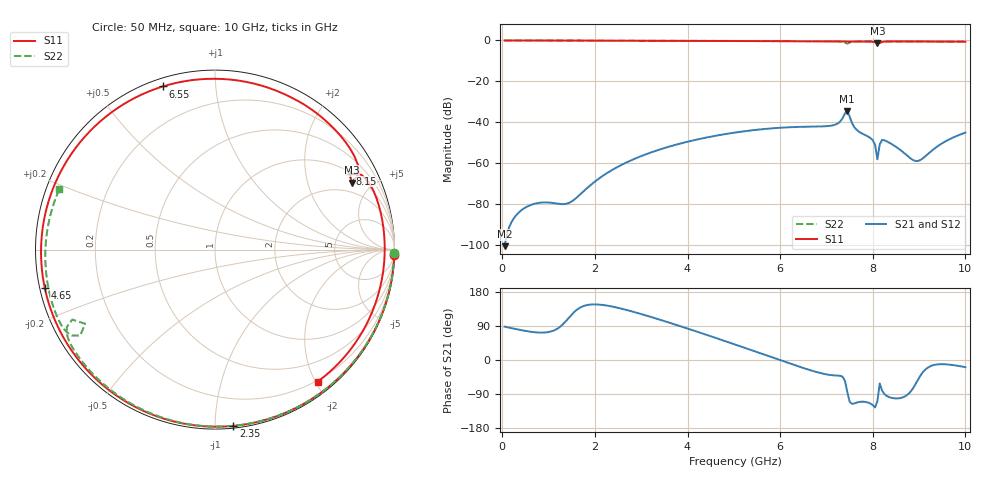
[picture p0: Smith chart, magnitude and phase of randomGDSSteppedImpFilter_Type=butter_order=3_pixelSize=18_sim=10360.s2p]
! freq	dB(S11)	phase(S11)	dB(S12)	phase(S12)
!  dB(S21)	phase(S21)	dB(S22)	phase(S22)
!S-par simulation data
#  GHz  S  DB  R 50
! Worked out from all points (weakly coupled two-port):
!   200 points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, 50 MHz to 10 GHz, reference 50 ohm
!   highest |S21| = -34.39 dB at 7.45 GHz (marker M1); lowest = -100.5 dB at 50 MHz (marker M2)
!   lowest |S11| = -1.4 dB at 8.1 GHz (marker M3), VSWR 12.21, Z = 71.2 + j190 ohm
!   |S11| at or under -10 dB: nowhere
!   |S22| runs from -1.6 to 0.0 dB; largest |S21 - S12| = 0
!   S11 on the Smith chart (normalised r, x): 50 MHz: 1, -62; 2.35 GHz: 0.01, -1.11; 4.65 GHz: 0.01, -0.11; 6.55 GHz: 0.04, +0.73; 8.15 GHz: 1.07, +3.50; 10 GHz: 0.18, -2.03
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0.05  -0.00 -1.9  -100.50 88.1  -100.50 88.1  -0.00 -1.2
0.65  -0.03 -23.6  -80.10 73.9  -80.10 73.9  -0.02 -14.8
1.35  -0.06 -48.7  -79.91 99.4  -79.91 99.4  -0.04 -30.5
1.75  -0.08 -62.9  -73.80 142.1  -73.80 142.1  -0.05 -39.3
2.35  -0.11 -84.0  -63.56 141.6  -63.56 141.6  -0.07 -52.3
3.4  -0.16 -121.0  -53.27 106.5  -53.27 106.5  -0.10 -74.2
4.65  -0.25 -167.4  -46.38 56.5  -46.38 56.5  -0.14 -98.8
5.05  -0.28 176.5  -44.91 39.9  -44.91 39.9  -0.16 -106.5
5.8  -0.34 143.8  -42.98 8.0  -42.98 8.0  -0.20 -120.6
6.55  -0.41 107.7  -42.14 -23.1  -42.14 -23.1  -0.26 -134.6
6.7  -0.42 100.1  -42.08 -28.7  -42.08 -28.7  -0.27 -137.4
7.2  -0.45 74.1  -41.05 -40.9  -41.05 -40.9  -0.36 -147.8
7.45  -0.46 61.0  -34.39 -84.4  -34.39 -84.4  -1.59 -150.3
7.65  -0.47 50.4  -43.63 -112.5  -43.63 -112.5  -0.44 -152.2
8  -0.67 30.8  -48.75 -119.0  -48.75 -119.0  -0.40 -160.1
8.05  -0.88 27.6  -50.94 -125.2  -50.94 -125.2  -0.40 -161.1
8.1  -1.43 26.1  -58.08 -108.4  -58.08 -108.4  -0.40 -162.1
8.15  -1.30 29.5  -50.75 -61.7  -50.75 -61.7  -0.40 -163.1
8.2  -0.75 27.0  -48.63 -80.4  -48.63 -80.4  -0.41 -164.1
8.35  -0.50 17.7  -49.85 -97.9  -49.85 -97.9  -0.42 -167.1
8.95  -0.50 -10.9  -58.94 -57.8  -58.94 -57.8  -0.49 -179.0
10  -0.61 -52.1  -45.02 -19.0  -45.02 -19.0  -0.63 158.7
